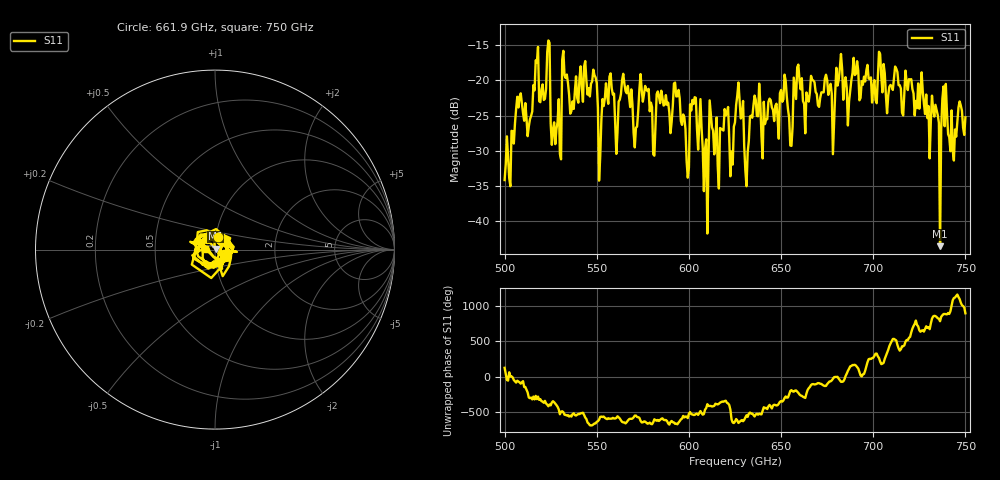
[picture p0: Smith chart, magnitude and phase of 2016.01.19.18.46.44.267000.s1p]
!Created with skrf (http://scikit-rf.org).
# GHz S RI R 50.0
!freq ReS11 ImS11
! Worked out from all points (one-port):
!   401 points, 500 GHz to 750 GHz, reference 50 ohm
!   lowest |S11| = -43.6 dB at 736.2 GHz (marker M1), VSWR 1.01, Z = 50.3 + j0.589 ohm
!   |S11| at or under -10 dB: start of sweep to end of sweep
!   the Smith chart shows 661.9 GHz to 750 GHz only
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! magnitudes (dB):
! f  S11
! 500 GHz  -34.2
! 507.5 GHz  -23.9
! 513.8 GHz  -25.6
! 516.9 GHz  -17.1
! 523.1 GHz  -16.0
! 526.2 GHz  -27.0
! 531.2 GHz  -17.1
! 562.5 GHz  -22.7
! 571.2 GHz  -26.7
! 576.9 GHz  -21.3
! 580.6 GHz  -30.5
! 593.8 GHz  -22.3
! 598.8 GHz  -31.5
! 602.5 GHz  -23.4
! 609.4 GHz  -28.4
! 611.9 GHz  -24.8
! 625 GHz  -26.0
! 628.1 GHz  -25.4
! 631.2 GHz  -35.1
! 636.9 GHz  -25.1
! 656.2 GHz  -26.6
! 660 GHz  -20.0
! 687.5 GHz  -21.4
! 718.8 GHz  -21.4
! 736.2 GHz  -43.6
! 738.8 GHz  -26.5
! 742.5 GHz  -24.3
! 750 GHz  -25.3
